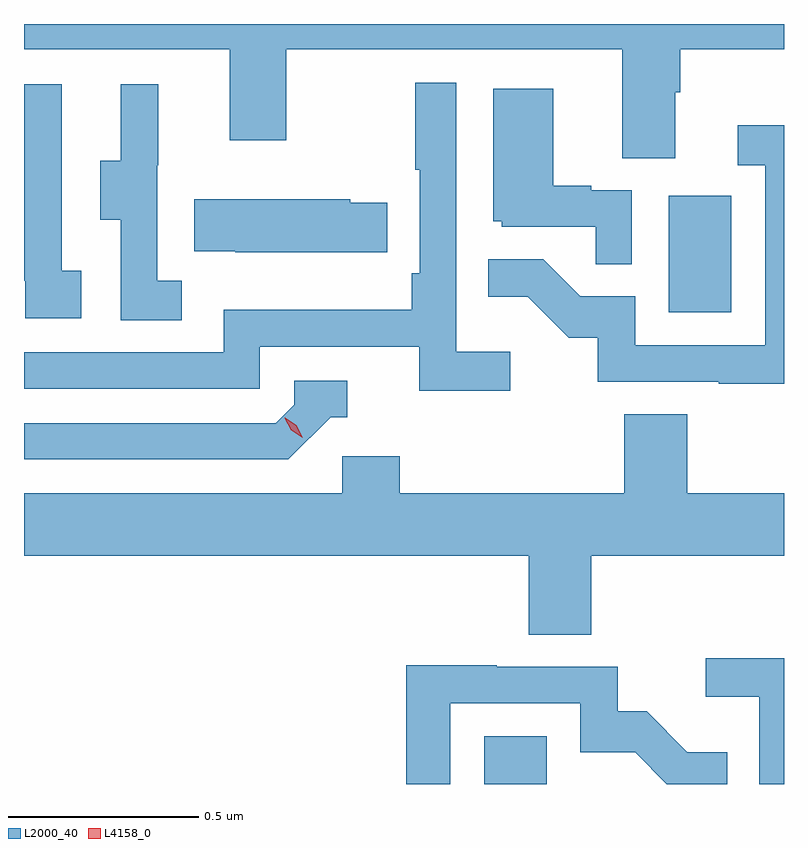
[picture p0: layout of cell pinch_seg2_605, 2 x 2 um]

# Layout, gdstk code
import gdstk
lib = gdstk.Library(unit=1e-6, precision=1e-09)
def R(c, l, rs):  # rectangles x0, y0, x1, y1
    for r in rs: c.add(gdstk.rectangle(r[:2], r[2:], *l))
def P(c, l, *ps):  # polygons
    for p in ps: c.add(gdstk.Polygon(p, *l))
L2000_40 = (2000, 40)
L4158_0 = (4158, 0)

pinch_seg2_605 = lib.new_cell('pinch_seg2_605')
R(pinch_seg2_605, L2000_40, [(1057.982,620.395,1058.146,620.521), (1058.468,621.636,1058.632,621.943)])
P(pinch_seg2_605, L2000_40, [(1058.485,622.216),(1058.498,622.216),(1058.498,622.328),(1058.771,622.328),(1058.771,622.395),(1056.771,622.395),(1056.771,622.328),(1057.313,622.328),(1057.313,622.089),(1057.461,622.089),(1057.461,622.328),(1058.345,622.328),(1058.345,622.042),(1058.485,622.042)],
  [(1058.05,621.532),(1057.908,621.532),(1057.908,622.24),(1057.8,622.24),(1057.8,622.012),(1057.812,622.012),(1057.812,621.739),(1057.792,621.739),(1057.792,621.643),(1057.296,621.643),(1057.296,621.531),(1056.771,621.531),(1056.771,621.435),(1057.392,621.435),(1057.392,621.546),(1057.811,621.546),(1057.811,621.43),(1058.05,621.43)],
  [(1057.186,621.719),(1057.122,621.719),(1057.122,622.023),(1057.124,622.023),(1057.124,622.237),(1057.025,622.237),(1057.025,622.035),(1056.971,622.035),(1056.971,621.88),(1057.026,621.88),(1057.026,621.616),(1057.186,621.616)],
  [(1056.922,621.746),(1056.87,621.746),(1056.87,622.237),(1056.771,622.237),(1056.771,622.092),(1056.772,622.092),(1056.772,621.974),(1056.771,621.974),(1056.771,621.719),(1056.774,621.719),(1056.774,621.621),(1056.922,621.621)],
  [(1058.37,621.957),(1058.264,621.957),(1058.264,621.97),(1058.164,621.97),(1058.164,622.225),(1058.006,622.225),(1058.006,621.876),(1058.028,621.876),(1058.028,621.861),(1058.275,621.861),(1058.275,621.763),(1058.37,621.763)],
  [(1058.771,622.129),(1058.649,622.129),(1058.649,622.023),(1058.721,622.023),(1058.721,621.549),(1058.379,621.549),(1058.379,621.678),(1058.235,621.678),(1058.137,621.776),(1057.993,621.776),(1057.993,621.677),(1058.097,621.677),(1058.204,621.57),(1058.281,621.57),(1058.281,621.453),(1058.599,621.453),(1058.599,621.448),(1058.771,621.448)],
  [(1057.727,621.924),(1057.629,621.924),(1057.629,621.934),(1057.219,621.934),(1057.219,621.797),(1057.327,621.797),(1057.327,621.794),(1057.727,621.794)],
  [(1057.578,621.36),(1057.621,621.36),(1057.621,621.456),(1057.482,621.456),(1057.482,621.393),(1057.434,621.345),(1056.771,621.345),(1056.771,621.249),(1057.467,621.249)],
  [(1057.76,621.258),(1057.608,621.258),(1057.608,621.16),(1056.771,621.16),(1056.771,620.996),(1058.099,620.996),(1058.099,620.788),(1058.264,620.788),(1058.264,620.996),(1058.771,620.996),(1058.771,621.16),(1058.516,621.16),(1058.516,621.368),(1058.351,621.368),(1058.351,621.16),(1057.76,621.16)],
  [(1058.771,620.726),(1058.565,620.726),(1058.565,620.624),(1058.706,620.624),(1058.706,620.395),(1058.771,620.395)],
  [(1057.893,620.607),(1058.235,620.607),(1058.235,620.478),(1058.379,620.478),(1058.462,620.395),(1058.621,620.395),(1058.621,620.479),(1058.517,620.479),(1058.41,620.586),(1058.334,620.586),(1058.334,620.703),(1058.015,620.703),(1058.015,620.708),(1057.777,620.708),(1057.777,620.395),(1057.893,620.395)])
P(pinch_seg2_605, L4158_0, [(1057.504,621.306),(1057.474,621.326),(1057.457,621.358),(1057.457,621.359),(1057.458,621.359),(1057.488,621.339),(1057.505,621.306),(1057.505,621.306)])

lib.write_gds('pinch_seg2_605.gds')
